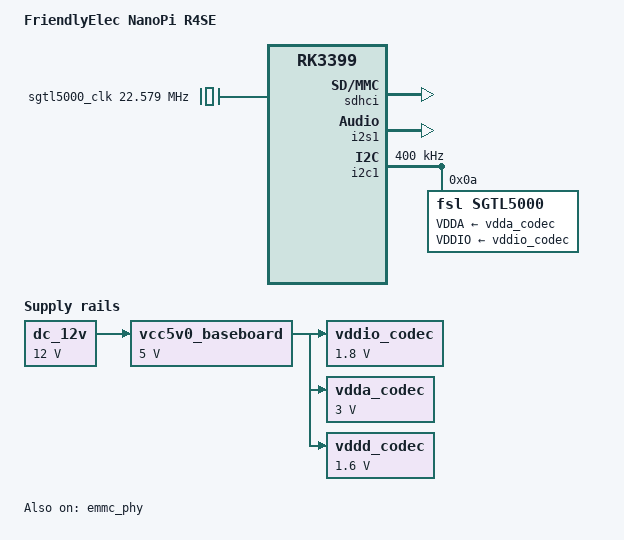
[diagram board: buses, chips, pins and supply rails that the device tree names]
// SPDX-License-Identifier: (GPL-2.0+ OR MIT)
/*
 * FriendlyElec NanoPC-T4 board device tree source
 *
 * Copyright (c) 2022 FriendlyElec Computer Tech. Co., Ltd.
 * (http://www.friendlyarm.com)
 *
 * Copyright (c) 2018 Collabora Ltd.
 *
 * Copyright (c) 2020 Jensen Huang <jensenhuang@friendlyarm.com>
 * Copyright (c) 2020 Marty Jones <mj8263788@gmail.com>
 * Copyright (c) 2021 Tianling Shen <cnsztl@gmail.com>
 */

/dts-v1/;
#include "rk3399-nanopi-r4s.dts"

/ {
	model = "FriendlyElec NanoPi R4SE";
	compatible = "friendlyelec,nanopi-r4s", "rockchip,rk3399";

	i2s1-sound {
    	compatible = "simple-audio-card";
    	simple-audio-card,format = "i2s";
	    simple-audio-card,name = "Bucikv3,I2S-codec";
	    simple-audio-card,mclk-fs = <512>;
    	simple-audio-card,cpu {
		                      bitclock-master;
                              frame-master;
		                      sound-dai = <&i2s1>;
	    };
	    simple-audio-card,codec {
		                        clocks = <&sgtl5000_clk>;
		                        sound-dai = <&sgtl5000>;
	    };
    };

    sgtl5000_clk: sgtl5000-oscillator  {
	              compatible = "fixed-clock";
	              #clock-cells = <0>;
	              //clock-frequency  = <24576000>;
                  clock-frequency  = <22579200>;
    };

	dc_12v: dc-12v {
		compatible = "regulator-fixed";
		regulator-name = "dc_12v";
		regulator-always-on;
		regulator-boot-on;
		regulator-min-microvolt = <12000000>;
		regulator-max-microvolt = <12000000>;
	};



	vcc5v0_baseboard: vcc5v0-baseboard {
		compatible = "regulator-fixed";
		regulator-name = "vcc5v0_baseboard";
		regulator-always-on;
		regulator-boot-on;
		regulator-min-microvolt = <5000000>;
		regulator-max-microvolt = <5000000>;
		vin-supply = <&dc_12v>;
	};



	vddio_codec: vddio-codec {
		compatible = "regulator-fixed";
		regulator-name = "vddio_codec";
		regulator-boot-on;
		regulator-min-microvolt = <1800000>;
		regulator-max-microvolt = <1800000>;
		vin-supply = <&vcc5v0_baseboard>;
	};

	vdda_codec: vdda-codec {
		compatible = "regulator-fixed";
		regulator-name = "vdda_codec";
		regulator-boot-on;
		regulator-min-microvolt = <3000000>;
		regulator-max-microvolt = <3000000>;
		vin-supply = <&vcc5v0_baseboard>;
	};

	vddd_codec: vddd-codec {
		compatible = "regulator-fixed";
		regulator-name = "vddd_codec";
		regulator-boot-on;
		regulator-min-microvolt = <1600000>;
		regulator-max-microvolt = <1600000>;
		vin-supply = <&vcc5v0_baseboard>;
	};
};

&hdmi_sound {
	status = "disabled";
};

&mach {
	hwrev = <0x0b>;
	model = "NanoPi R4SE";
};

&emmc_phy {
	status = "okay";
};

&sdhci {
	mmc-hs400-1_8v;
	mmc-hs400-enhanced-strobe;
	status = "okay";
};

&i2s1 {
     pinctrl-0 = <&i2s1_2ch_bus>;
     rockchip,playback-channels = <2>;
     rockchip,capture-channels = <2>;
     status = "okay";
};


&i2c1 {
	status = "okay";
	clock-frequency = <400000>;

	sgtl5000: codec@a {
		compatible = "fsl,sgtl5000";
		reg = <0x0a>;
		clocks = <&sgtl5000_clk>;
		#sound-dai-cells = <0>;
		VDDA-supply = <&vdda_codec>;
		VDDIO-supply = <&vddio_codec>;
		//VDDD-supply = <&vddd_codec>;
		status = "okay";
	};
};

&i2s2 {
	status = "disabled";
};

&i2c2 {
	status = "disabled";
};
